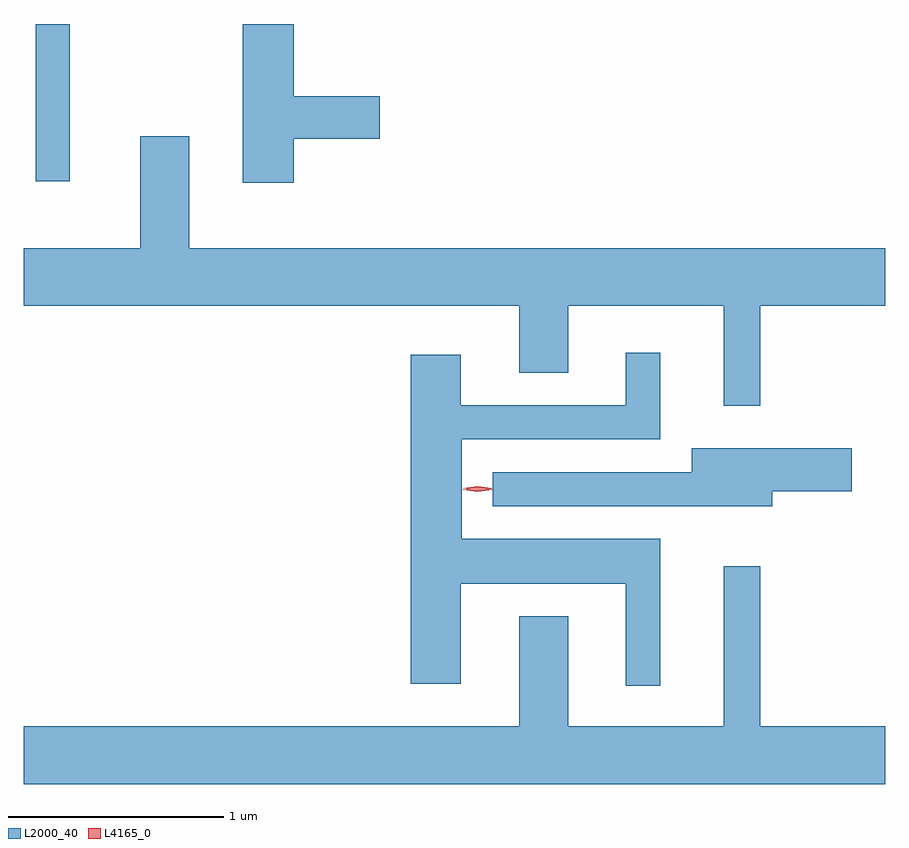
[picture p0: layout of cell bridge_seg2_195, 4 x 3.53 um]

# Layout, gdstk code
import gdstk
lib = gdstk.Library(unit=1e-6, precision=1e-09)
def R(c, l, rs):  # rectangles x0, y0, x1, y1
    for r in rs: c.add(gdstk.rectangle(r[:2], r[2:], *l))
def P(c, l, *ps):  # polygons
    for p in ps: c.add(gdstk.Polygon(p, *l))
L2000_40 = (2000, 40)
L4165_0 = (4165, 0)

bridge_seg2_195 = lib.new_cell('bridge_seg2_195')
R(bridge_seg2_195, L2000_40, [(886.586,1037.793,886.744,1038.524)])
P(bridge_seg2_195, L2000_40, [(887.784,1037.991),(888.184,1037.991),(888.184,1038.189),(887.784,1038.189),(887.784,1038.524),(887.546,1038.524),(887.546,1037.786),(887.784,1037.786)],
  [(889.949,1037.216),(890.53,1037.216),(890.53,1037.484),(887.299,1037.484),(887.299,1038.004),(887.071,1038.004),(887.071,1037.484),(886.53,1037.484),(886.53,1037.216),(888.831,1037.216),(888.831,1036.906),(889.059,1036.906),(889.059,1037.216),(889.781,1037.216),(889.781,1036.753),(889.949,1036.753)],
  [(889.484,1036.134),(888.564,1036.134),(888.564,1036.596),(889.484,1036.596),(889.484,1036.998),(889.326,1036.998),(889.326,1036.754),(888.559,1036.754),(888.559,1036.989),(888.326,1036.989),(888.326,1035.461),(888.559,1035.461),(888.559,1035.926),(889.326,1035.926),(889.326,1035.453),(889.484,1035.453)],
  [(890.004,1036.356),(890.374,1036.356),(890.374,1036.554),(889.631,1036.554),(889.631,1036.444),(888.708,1036.444),(888.708,1036.286),(890.004,1036.286)],
  [(890.53,1035.264),(889.949,1035.264),(889.949,1036.007),(889.781,1036.007),(889.781,1035.264),(889.059,1035.264),(889.059,1035.774),(888.831,1035.774),(888.831,1035.264),(886.53,1035.264),(886.53,1034.996),(890.53,1034.996)])
P(bridge_seg2_195, L4165_0, [(888.636,1036.359),(888.571,1036.369),(888.57,1036.369),(888.571,1036.37),(888.637,1036.378),(888.702,1036.368),(888.703,1036.368),(888.702,1036.367)],
  [(888.637,1036.352),(888.568,1036.362),(888.567,1036.362),(888.568,1036.363),(888.637,1036.372),(888.706,1036.363),(888.706,1036.362),(888.706,1036.362)])

lib.write_gds('bridge_seg2_195.gds')
